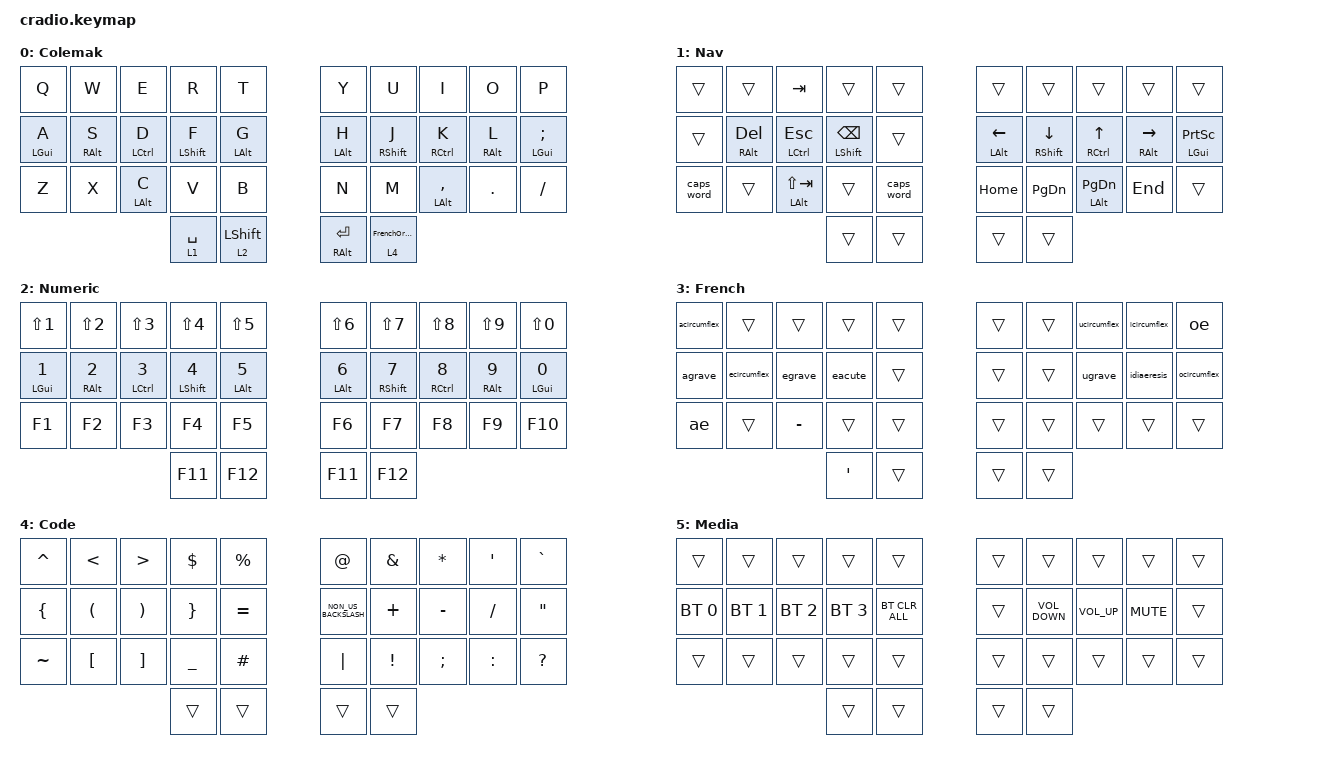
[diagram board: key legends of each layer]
/*
 * Copyright (c) 2020 The ZMK Contributors
 *
 * SPDX-License-Identifier: MIT
 */

#include <behaviors.dtsi>
#include <dt-bindings/zmk/bt.h>
#include <dt-bindings/zmk/keys.h>

#define NAV_L 1
#define OTHER_L 2
#define NUM_L 3
#define SYM_L 4

// Using layer taps on thumbs, having quick tap as well helps w/ repeating space/backspace
//&lt { quick-tap-ms = <200>; };

/ {
    behaviors {
        //#ifndef HOMEY_HOLDING_TYPE
        //#define HOMEY_HOLDING_TYPE "balanced"
        //#endif
        //#ifndef HOMEY_HOLDING_TIME
        //#define HOMEY_HOLDING_TIME 270
        //#endif
        //#ifndef HOMEY_STREAK_DECAY
        //#define HOMEY_STREAK_DECAY 170
        //#endif
        //#ifndef HOMEY_REPEAT_DECAY
        //#define HOMEY_REPEAT_DECAY 300 // "tap then hold" for key auto-repeat
        //#endif

  slnm: sticky_layer_no_mods {
        compatible = "zmk,behavior-sticky-layer";
        #binding-cells = <1>;
        bindings = <&mo>;
        release-after-ms = <1000>;
        quick-release;
        ignore-modifiers;
      };

        hml: hml {
            compatible = "zmk,behavior-hold-tap";
            flavor = "tap-preferred";
            tapping-term-ms = <200>;
            quick-tap-ms = <250>;

            //require-prior-idle-ms = <170>;

            #binding-cells = <2>;
            bindings = <&kp>, <&kp>;

            //label = "Home row left";
            //hold-trigger-key-positions = <5 6 7 8 9 15 16 17 18 19 25 26 27 28 29 33 32>;

            hold-trigger-key-positions = <5 6 7 8 9 15 16 17 18 19 25 26 27 28 29 32 33>;
        };

        hmr: hmr {
            compatible = "zmk,behavior-hold-tap";
            flavor = "tap-preferred";
            tapping-term-ms = <200>;
            quick-tap-ms = <250>;

            //require-prior-idle-ms = <170>;

            #binding-cells = <2>;
            bindings = <&kp>, <&kp>;

            //label = "Home row right";
            //hold-trigger-key-positions = <0 1 2 3 4 10 11 12 13 14 20 21 22 23 24 30 31>;

            hold-trigger-key-positions = <0 1 2 3 4 10 11 12 13 14 20 21 22 23 24 31 30>;
        };

        tapmod_thumb: miryoku_tapmod_thumb {
            compatible = "zmk,behavior-hold-tap";
            label = "TAP_MOD_THUMB";
            flavor = "tap-preferred";
            hold-trigger-key-positions = <0 1 2 3 4 5 6 7 8 9 10 11 12 13 14 15 16 17 18 19 20 21 22 23 24 25 26 27 28 29 31 30 32 33>; // wait for other home row mods
            tapping-term-ms = <200>;
            quick-tap-ms = <250>;

            //require-prior-idle-ms = <170>;

            #binding-cells = <2>;
            bindings = <&kp>, <&kp>;

            //retro-tap;
        };

        layer_thumb: miryoku_home_row_layer_thumb {
            compatible = "zmk,behavior-hold-tap";
            label = "HOME_ROW_LAYER_THUMB";
            flavor = "tap-preferred";
            hold-trigger-key-positions = <0 1 2 3 4 5 6 7 8 9 10 11 12 13 14 15 16 17 18 19 20 21 22 23 24 25 26 27 28 29>; // wait for other home row mods
            tapping-term-ms = <200>;
            quick-tap-ms = <250>;

            //require-prior-idle-ms = <170>;

            #binding-cells = <2>;
            bindings = <&mo>, <&kp>;

            //retro-tap;
        };

        taphold: taphold {
            compatible = "zmk,behavior-hold-tap";
            label = "TAPHOLD";
            bindings = <&kp>, <&kp>;

            #binding-cells = <2>;
            tapping-term-ms = <200>;
            quick-tap-ms = <200>;
        };

        tapholdlong: tapholdlong {
            compatible = "zmk,behavior-hold-tap";
            label = "TAPHOLDLONG";
            bindings = <&kp>, <&kp>;

            #binding-cells = <2>;
            tapping-term-ms = <500>;
            flavor = "tap-preferred";
            quick-tap-ms = <250>;
        };

        hrmcaps: hrmcaps {
            compatible = "zmk,behavior-hold-tap";
            flavor = "tap-preferred";
            tapping-term-ms = <200>;
            quick-tap-ms = <250>;
            #binding-cells = <2>;
            bindings = <&kp>, <&caps_word>;

            hold-trigger-key-positions = <5 6 7 8 9 15 16 17 18 19 25 26 27 28 29 32 33>;
            label = "HRMCAPS";
        };

        sticky_layer_thumb: sticky_layer_thumb {
            compatible = "zmk,behavior-hold-tap";
            label = "STICKY_LAYER_THUMB";
            flavor = "tap-preferred";
            hold-trigger-key-positions = <0 1 2 3 4 5 6 7 8 9 10 11 12 13 14 15 16 17 18 19 20 21 22 23 24 25 26 27 28 29 30 31 32 33>;
            tapping-term-ms = <200>;
            quick-tap-ms = <250>;
            #binding-cells = <2>;
            bindings = <&mo>, <&sk>;
        };

        sticky_thumb: sticky_thumb {
            compatible = "zmk,behavior-hold-tap";
            label = "STICKY_THUMB";
            flavor = "tap-preferred";
            hold-trigger-key-positions = <0 1 2 3 4 5 6 7 8 9 10 11 12 13 14 15 16 17 18 19 20 21 22 23 24 25 26 27 28 29>;
            tapping-term-ms = <200>;
            quick-tap-ms = <250>;
            #binding-cells = <2>;
            bindings = <&kp>, <&sk>;
        };

        FrenchOrDia: FrenchOrDia {
            compatible = "zmk,behavior-tap-dance";
            label = "FRENCHORDIA";
            #binding-cells = <0>;
            bindings = <&sl 3>, <&diaeresis>;
        };

        ODK: ODK {
            compatible = "zmk,behavior-hold-tap";
            label = "ODK";
            bindings = <&mo>, <&FrenchOrDia>;

            #binding-cells = <2>;
            flavor = "tap-preferred";
            tapping-term-ms = <200>;
            quick-tap-ms = <250>;
        };

        egrave: egrave {
            label = "EGRAVE";
            compatible = "zmk,behavior-mod-morph";
            #binding-cells = <0>;
            bindings = <&egrave_min>, <&egrave_maj>;

            mods = <(MOD_LSFT|MOD_RSFT)>;
        };

        agrave: agrave {
            label = "AGRAVE";
            compatible = "zmk,behavior-mod-morph";
            #binding-cells = <0>;
            bindings = <&agrave_min>, <&agrave_maj>;

            mods = <(MOD_LSFT|MOD_RSFT)>;
        };

        ugrave: ugrave {
            label = "UGRAVE";
            compatible = "zmk,behavior-mod-morph";
            #binding-cells = <0>;
            bindings = <&ugrave_min>, <&ugrave_maj>;

            mods = <(MOD_LSFT|MOD_RSFT)>;
        };

        eacute: eacute {
            label = "EACUTE";
            compatible = "zmk,behavior-mod-morph";
            #binding-cells = <0>;
            bindings = <&eacute_min>, <&eacute_maj>;

            mods = <(MOD_LSFT|MOD_RSFT)>;
        };

        acircumflex: acircumflex {
            label = "ACIRCUMFLEX";
            compatible = "zmk,behavior-mod-morph";
            #binding-cells = <0>;
            bindings = <&ecircumflex_min>, <&ecircumflex_maj>;

            mods = <(MOD_LSFT|MOD_RSFT)>;
        };

        ecircumflex: ecircumflex {
            label = "ECIRCUMFLEX";
            compatible = "zmk,behavior-mod-morph";
            #binding-cells = <0>;
            bindings = <&ecircumflex_min>, <&ecircumflex_maj>;

            mods = <(MOD_LSFT|MOD_RSFT)>;
        };

        icircumflex: icircumflex {
            label = "ICIRCUMFLEX";
            compatible = "zmk,behavior-mod-morph";
            #binding-cells = <0>;
            bindings = <&ecircumflex_min>, <&ecircumflex_maj>;

            mods = <(MOD_LSFT|MOD_RSFT)>;
        };

        ocircumflex: ocircumflex {
            label = "OCIRCUMFLEX";
            compatible = "zmk,behavior-mod-morph";
            #binding-cells = <0>;
            bindings = <&ecircumflex_min>, <&ecircumflex_maj>;

            mods = <(MOD_LSFT|MOD_RSFT)>;
        };

        ucircumflex: ucircumflex {
            label = "UCIRCUMFLEX";
            compatible = "zmk,behavior-mod-morph";
            #binding-cells = <0>;
            bindings = <&ecircumflex_min>, <&ecircumflex_maj>;

            mods = <(MOD_LSFT|MOD_RSFT)>;
        };

        ae: ae {
            label = "AE";
            compatible = "zmk,behavior-mod-morph";
            #binding-cells = <0>;
            bindings = <&ae_min>, <&ae_maj>;

            mods = <(MOD_LSFT|MOD_RSFT)>;
        };

        oe: oe {
            compatible = "zmk,behavior-mod-morph";
            #binding-cells = <0>;
            bindings = <&oe_min>, <&oe_maj>;

            mods = <(MOD_LSFT|MOD_RSFT)>;
            label = "OE";
        };

        idiaeresis: idiaeresis {
            label = "IDIAERESIS";
            compatible = "zmk,behavior-mod-morph";
            #binding-cells = <0>;
            bindings = <&idiaeresis_min>, <&idiaeresis_maj>;

            mods = <(MOD_LSFT|MOD_RSFT)>;
        };
    };

    combos {
        compatible = "zmk,combos";

        FnLayer {
            bindings = <&mo 5>;
            key-positions = <30 31>;
        };

        FastEsc {
            bindings = <&kp ESC>;
            key-positions = <12 30>;
        };

        FastTab {
            bindings = <&kp TAB>;
            key-positions = <30 13>;
        };

        FastBackTab {
            bindings = <&kp TAB>;
            key-positions = <30 11>;
        };

        FastDelete {
            bindings = <&kp DEL>;
            key-positions = <30 14>;
        };

        FastBackspace {
            bindings = <&kp BACKSPACE>;
            key-positions = <30 10>;
        };
    };

    macros {
        // Dead keys

        grave: grave {
            compatible = "zmk,behavior-macro";
            #binding-cells = <0>;
            bindings = <&kp RA(S)>;
            label = "GRAVE";
        };

        acute: acute {
            compatible = "zmk,behavior-macro";
            #binding-cells = <0>;
            bindings = <&kp RA(F)>;
            label = "ACUTE";
        };

        circumflex: circumflex {
            compatible = "zmk,behavior-macro";
            #binding-cells = <0>;
            bindings = <&kp RA(X)>;
            label = "CIRCUMFLEX";
        };

        diaeresis: diaeresis {
            compatible = "zmk,behavior-macro";
            #binding-cells = <0>;
            bindings = <&kp RA(V)>;
            label = "DIAERESIS";
        };

        // Current French accents min

        egrave_min: egrave_min {
            compatible = "zmk,behavior-macro";
            #binding-cells = <0>;
            bindings = <&grave &kp K>;
            label = "EGRAVE_MIN";
        };

        agrave_min: agrave_min {
            compatible = "zmk,behavior-macro";
            #binding-cells = <0>;
            bindings = <&grave &kp A>;
            label = "AGRAVE_MIN";
        };

        ugrave_min: ugrave_min {
            compatible = "zmk,behavior-macro";
            #binding-cells = <0>;
            bindings = <&grave &kp I>;
            label = "UGRAVE_MIN";
        };

        eacute_min: eacute_min {
            compatible = "zmk,behavior-macro";
            #binding-cells = <0>;
            bindings = <&acute &kp K>;
            label = "EACUTE_MIN";
        };

        acircumflex_min: acircumflex_min {
            compatible = "zmk,behavior-macro";
            #binding-cells = <0>;
            bindings = <&circumflex &kp A>;
            label = "ACIRCUMFLEX_MIN";
        };

        ecircumflex_min: ecircumflex_min {
            compatible = "zmk,behavior-macro";
            #binding-cells = <0>;
            bindings = <&circumflex &kp K>;
            label = "ECIRCUMFLEX_MIN";
        };

        icircumflex_min: icircumflex_min {
            compatible = "zmk,behavior-macro";
            #binding-cells = <0>;
            bindings = <&circumflex &kp L>;
            label = "ICIRCUMFLEX_MIN";
        };

        ocircumflex_min: ocircumflex_min {
            compatible = "zmk,behavior-macro";
            #binding-cells = <0>;
            bindings = <&circumflex &kp SEMICOLON>;
            label = "OCIRCUMFLEX_MIN";
        };

        ucircumflex_min: ucircumflex_min {
            compatible = "zmk,behavior-macro";
            #binding-cells = <0>;
            bindings = <&circumflex &kp I>;
            label = "ACIRCUMFLEX_MIN";
        };

        ae_min: ae_min {
            compatible = "zmk,behavior-macro";
            #binding-cells = <0>;
            bindings = <&kp RA(Z)>;
            label = "AE_MIN";
        };

        oe_min: oe_min {
            compatible = "zmk,behavior-macro";
            #binding-cells = <0>;
            bindings = <&kp RA(B)>;
            label = "OE_MIN";
        };

        idiaeresis_min: idiaeresis_min {
            compatible = "zmk,behavior-macro";
            #binding-cells = <0>;
            bindings = <&diaeresis &kp L>;
            label = "IDIAERESIS_MIN";
        };

        // Current French accents maj

        egrave_maj: egrave_maj {
            compatible = "zmk,behavior-macro";
            #binding-cells = <0>;
            bindings = <&grave &kp LS(K)>;
            label = "EGRAVE_MAJ";
        };

        agrave_maj: agrave_maj {
            compatible = "zmk,behavior-macro";
            #binding-cells = <0>;
            bindings = <&grave &kp LS(A)>;
            label = "AGRAVE_MAJ";
        };

        ugrave_maj: ugrave_maj {
            compatible = "zmk,behavior-macro";
            #binding-cells = <0>;
            bindings = <&grave &kp LS(I)>;
            label = "UGRAVE_MAJ";
        };

        eacute_maj: eacute_maj {
            compatible = "zmk,behavior-macro";
            #binding-cells = <0>;
            bindings = <&acute &kp LS(K)>;
            label = "EACUTE_MAJ";
        };

        acircumflex_maj: acircumflex_maj {
            compatible = "zmk,behavior-macro";
            #binding-cells = <0>;
            bindings = <&circumflex &kp LS(A)>;
            label = "ACIRCUMFLEX_MAJ";
        };

        ecircumflex_maj: ecircumflex_maj {
            compatible = "zmk,behavior-macro";
            #binding-cells = <0>;
            bindings = <&circumflex &kp LS(K)>;
            label = "ECIRCUMFLEX_MAJ";
        };

        icircumflex_maj: icircumflex_maj {
            compatible = "zmk,behavior-macro";
            #binding-cells = <0>;
            bindings = <&circumflex &kp LS(L)>;
            label = "ICIRCUMFLEX_MAJ";
        };

        ocircumflex_maj: ocircumflex_maj {
            compatible = "zmk,behavior-macro";
            #binding-cells = <0>;
            bindings = <&circumflex &kp LS(SEMICOLON)>;
            label = "OCIRCUMFLEX_MAJ";
        };

        ucircumflex_maj: ucircumflex_maj {
            compatible = "zmk,behavior-macro";
            #binding-cells = <0>;
            bindings = <&circumflex &kp LS(I)>;
            label = "ACIRCUMFLEX_MAJ";
        };

        ae_maj: ae_maj {
            compatible = "zmk,behavior-macro";
            #binding-cells = <0>;
            bindings = <&kp LS(RA(Z))>;
            label = "AE_MAJ";
        };

        oe_maj: oe_maj {
            compatible = "zmk,behavior-macro";
            #binding-cells = <0>;
            bindings = <&kp LS(RA(B))>;
            label = "OE_MAJ";
        };

        idiaeresis_maj: idiaeresis_maj {
            compatible = "zmk,behavior-macro";
            #binding-cells = <0>;
            bindings = <&diaeresis &kp LS(L)>;
            label = "IDIAERESIS_MAJ";
        };
    };

    keymap {
        compatible = "zmk,keymap";

        Colemak {
            bindings = <
&kp Q        &kp W             &kp E         &kp R                 &kp T                               &kp Y                          &kp U         &kp I            &kp O             &kp P
&hml LGUI A  &hml RIGHT_ALT S  &hml LCTRL D  &hml LSHFT F          &hml LEFT_ALT G                     &hmr LEFT_ALT H                &hmr RSHFT J  &hmr RCTRL K     &hmr RIGHT_ALT L  &hmr LGUI SEMI
&kp Z        &kp X             &hml LALT C   &kp V                 &kp B                               &kp N                          &kp M         &hmr LALT COMMA  &kp PERIOD        &kp FSLH
                                             &layer_thumb 1 SPACE  &sticky_layer_thumb 2 LEFT_SHIFT    &sticky_thumb RIGHT_ALT ENTER  &ODK 4 0
            >;
        };

        Nav {
            bindings = <
&trans      &trans                 &kp TAB                &trans                     &trans        &trans                    &trans                       &trans                   &trans           &trans
&trans      &hml RIGHT_ALT DELETE  &hml LCTRL ESCAPE      &hml LEFT_SHIFT BACKSPACE  &trans        &hmr LEFT_ALT LEFT_ARROW  &hmr RIGHT_SHIFT DOWN_ARROW  &hmr RCTRL UP_ARROW      &hmr RALT RIGHT  &hmr LEFT_GUI PRINTSCREEN
&caps_word  &trans                 &hml LEFT_ALT LS(TAB)  &trans                     &caps_word    &kp HOME                  &kp PAGE_DOWN                &hmr LEFT_ALT PAGE_DOWN  &kp END          &trans
                                                          &trans                     &trans        &trans                    &trans
            >;
        };

        Numeric {
            bindings = <
&kp LS(NUMBER_1)    &kp LS(NUMBER_2)         &kp LS(NUMBER_3)     &kp LS(NUMBER_4)     &kp LS(N5)                &kp LS(NUMBER_6)        &kp LS(N7)     &kp LS(N8)     &kp LS(N9)         &kp LS(N0)
&hml LGUI NUMBER_1  &hml RIGHT_ALT NUMBER_2  &hml LCTRL NUMBER_3  &hml LSHFT NUMBER_4  &hml LEFT_ALT NUMBER_5    &hmr LEFT_ALT NUMBER_6  &hmr RSHFT N7  &hmr RCTRL N8  &hmr RIGHT_ALT N9  &hmr LGUI N0
&kp F1              &kp F2                   &kp F3               &kp F4               &kp F5                    &kp F6                  &kp F7         &kp F8         &kp F9             &kp F10
                                                                  &kp F11              &kp F12                   &kp F11                 &kp F12
            >;
        };

        French {
            bindings = <
&acircumflex  &trans        &trans     &trans   &trans    &trans  &trans  &ucircumflex  &icircumflex  &oe
&agrave       &ecircumflex  &egrave    &eacute  &trans    &trans  &trans  &ugrave       &idiaeresis   &ocircumflex
&ae           &trans        &kp MINUS  &trans   &trans    &trans  &trans  &trans        &trans        &trans
                                       &kp SQT  &trans    &trans  &trans
            >;
        };

        Code {
            bindings = <
&kp CARET       &kp LESS_THAN         &kp GREATER_THAN       &kp DOLLAR       &kp PERCENT    &kp AT_SIGN           &kp AMPERSAND    &kp ASTERISK   &kp SQT    &kp GRAVE
&kp LEFT_BRACE  &kp LEFT_PARENTHESIS  &kp RIGHT_PARENTHESIS  &kp RIGHT_BRACE  &kp EQUAL      &kp NON_US_BACKSLASH  &kp PLUS         &kp MINUS      &kp SLASH  &kp DOUBLE_QUOTES
&kp TILDE       &kp LEFT_BRACKET      &kp RIGHT_BRACKET      &kp UNDERSCORE   &kp HASH       &kp PIPE              &kp EXCLAMATION  &kp SEMICOLON  &kp COLON  &kp QUESTION
                                                             &trans           &trans         &trans                &trans
            >;
        };

        Media {
            bindings = <
&trans        &trans        &trans        &trans        &trans            &trans  &trans             &trans           &trans      &trans
&bt BT_SEL 0  &bt BT_SEL 1  &bt BT_SEL 2  &bt BT_SEL 3  &bt BT_CLR_ALL    &trans  &kp C_VOLUME_DOWN  &kp C_VOLUME_UP  &kp C_MUTE  &trans
&trans        &trans        &trans        &trans        &trans            &trans  &trans             &trans           &trans      &trans
                                          &trans        &trans            &trans  &trans
            >;
        };
    };
};
